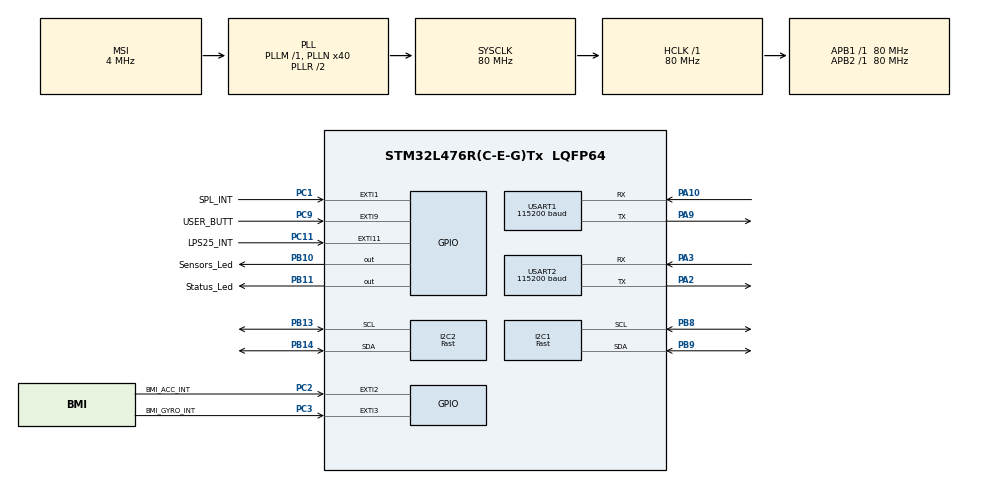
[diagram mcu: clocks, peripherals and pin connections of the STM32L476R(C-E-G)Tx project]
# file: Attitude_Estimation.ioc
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I2C1.I2C_Speed_Mode=I2C_Fast
I2C1.Timing=0x00702991
I2C2.I2C_Speed_Mode=I2C_Fast
I2C2.Timing=0x00702991
Mcu.Family=STM32L4
Mcu.Name=STM32L476R(C-E-G)Tx
Mcu.Package=LQFP64
NVIC.EXTI15_10_IRQn=true\:5\:0\:true\:false\:true\:true\:true\:true
NVIC.EXTI1_IRQn=true\:5\:0\:true\:false\:true\:true\:true\:true
NVIC.EXTI2_IRQn=true\:5\:0\:true\:false\:true\:true\:true\:true
NVIC.EXTI3_IRQn=true\:5\:0\:true\:false\:true\:true\:true\:true
NVIC.EXTI9_5_IRQn=true\:3\:0\:true\:false\:true\:true\:true\:true
NVIC.PriorityGroup=NVIC_PRIORITYGROUP_4
NVIC.TIM3_IRQn=true\:2\:0\:true\:false\:true\:true\:true\:true
NVIC.TIM4_IRQn=true\:2\:0\:true\:false\:true\:true\:true\:true
PA10.Mode=Asynchronous
PA10.Signal=USART1_RX
PA13\ (JTMS-SWDIO).Mode=Serial_Wire
PA13\ (JTMS-SWDIO).Signal=SYS_JTMS-SWDIO
PA14\ (JTCK-SWCLK).Mode=Serial_Wire
PA14\ (JTCK-SWCLK).Signal=SYS_JTCK-SWCLK
PA2.Mode=Asynchronous
PA2.Signal=USART2_TX
PA3.Mode=Asynchronous
PA3.Signal=USART2_RX
PA9.Mode=Asynchronous
PA9.Signal=USART1_TX
PB10.GPIO_Label=Sensors_Led
PB10.Signal=GPIO_Output
PB11.GPIO_Label=Status_Led
PB11.Signal=GPIO_Output
PB13.Mode=I2C
PB13.Signal=I2C2_SCL
PB14.Mode=I2C
PB14.Signal=I2C2_SDA
PB8.Mode=I2C
PB8.Signal=I2C1_SCL
PB9.Mode=I2C
PB9.Signal=I2C1_SDA
PC1.GPIO_Label=SPL_INT
PC1.Signal=GPXTI1
PC11.GPIO_Label=LPS25_INT
PC11.Signal=GPXTI11
PC2.GPIO_Label=BMI_ACC_INT
PC2.Signal=GPXTI2
PC3.GPIO_Label=BMI_GYRO_INT
PC3.Signal=GPXTI3
PC9.GPIO_Label=USER_BUTT
PC9.GPIO_ModeDefaultEXTI=GPIO_MODE_IT_FALLING
PC9.GPIO_PuPd=GPIO_PULLUP
PC9.Signal=GPXTI9
ProjectManager.HeapSize=0x200
ProjectManager.StackSize=0x400
ProjectManager.TargetToolchain=STM32CubeIDE
RCC.AHBFreq_Value=80000000
RCC.APB1Freq_Value=80000000
RCC.APB1TimFreq_Value=80000000
RCC.APB2Freq_Value=80000000
RCC.APB2TimFreq_Value=80000000
RCC.CortexFreq_Value=80000000
RCC.HCLKFreq_Value=80000000
RCC.HSE_VALUE=8000000
RCC.HSI_VALUE=16000000
RCC.LSE_VALUE=32768
RCC.MSI_VALUE=4000000
RCC.PLLN=40
RCC.SYSCLKFreq_VALUE=80000000
RCC.SYSCLKSource=RCC_SYSCLKSOURCE_PLLCLK
RCC.VCOOutputFreq_Value=160000000
TIM3.Channel-Output\ Compare1\ No\ Output=TIM_CHANNEL_1
TIM3.Channel-Output\ Compare2\ No\ Output=TIM_CHANNEL_2
TIM3.Channel-Output\ Compare3\ No\ Output=TIM_CHANNEL_3
TIM3.Channel-Output\ Compare4\ No\ Output=TIM_CHANNEL_4
TIM3.Period=9999
TIM3.Prescaler=7999
TIM3.Pulse-Output\ Compare1\ No\ Output=0
TIM3.Pulse-Output\ Compare2\ No\ Output=5000
TIM3.Pulse-Output\ Compare3\ No\ Output=2500
TIM4.Channel-Output\ Compare1\ No\ Output=TIM_CHANNEL_1
TIM4.Period=19999
TIM4.Prescaler=9999
USART1.BaudRate=115200
USART1.VirtualMode-Asynchronous=VM_ASYNC
USART2.BaudRate=115200
USART2.VirtualMode-Asynchronous=VM_ASYNC
VP_TIM3_VS_ClockSourceINT.Mode=Internal
VP_TIM3_VS_no_output1.Mode=Output Compare1 No Output
VP_TIM3_VS_no_output2.Mode=Output Compare2 No Output
VP_TIM3_VS_no_output3.Mode=Output Compare3 No Output
VP_TIM4_VS_ClockSourceINT.Mode=Internal
VP_TIM4_VS_no_output1.Mode=Output Compare1 No Output
board=custom

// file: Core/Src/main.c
/* USER CODE BEGIN Header */
/**
  ******************************************************************************
  * @file           : main.c
  * @brief          : Main program body
  ******************************************************************************
  * @attention
  *
  * Copyright (c) 2023 STMicroelectronics.
  * All rights reserved.
  *
  * This software is licensed under terms that can be found in the LICENSE file
  * in the root directory of this software component.
  * If no LICENSE file comes with this software, it is provided AS-IS.
  *
  ******************************************************************************
  */
/* USER CODE END Header */
#include "main.h"
#include "i2c.h"
#include "tim.h"
#include "usart.h"
#include "gpio.h"

/* USER CODE BEGIN Includes */
#include "I2C_BusMonitor.h"
#include "Altimeter.h"
#include "QMC5883L.h"
#include "BMI088.h"
#include "LPS25HB_I2C.h"
#include "ICM_42688_P.h"
#include "SPL06.h"
#include "RollPitchYaw.h"
#include <stdio.h>
#include <SPL06.h>
#include <string.h>
/* USER CODE END Includes */

/* USER CODE BEGIN PD */
#define SAMPLE_RATE 50
#define MAGNETOMETER_ON   1
#define MAGNETOMETER_OFF  2
#define ALTIMETER_ON  	  2
#define ALTIMETER_OFF     1

/* USER CODE END PD */

/* USER CODE BEGIN PV */

typedef struct{

	LPS25HB_t 	LPS25;
	SPL06_t   	SPL;
	Altimeter_t Altimeter;
	ICM_42688_t IMC;
	BMI088_t 	BMI;
	QMC5883L_t 	QMC;

}Device_t;

Device_t Dev;

RollPitchYaw_t RPY_dev;

float Rad_to_Deg = 57.295f;

float GRAVITY_EARTH = 9.81;
uint8_t DataReadyBMIGyro = 0;
uint8_t DataReadyBMIAcc = 0;
uint8_t DataReadySPL = 0;
uint8_t DataReadyLPS25 = 0;

volatile float AverageTemp = 0.0f;

uint32_t time_tick = 0, Sample_time = 25;

volatile uint8_t ALTIcounter = 0;
volatile uint8_t MAGcounter = 0;
uint8_t ALTI_ON = 0;
uint8_t MAG_ON = 0;

// Filter coefficients
//float ALPHA_ACC
//float ALPHA_GYRO	0.8f
//float ALPHA_MAG 	0.5f

/* USER CODE END PV */

void SystemClock_Config(void);

/* USER CODE BEGIN 0 */

int __io_putchar(int ch)
{
  if (ch == '\n') {
    __io_putchar('\r');
  }

  HAL_UART_Transmit(&huart1, (uint8_t*)&ch, 1, HAL_MAX_DELAY);

  return 1;
}

void HAL_GPIO_EXTI_Callback(uint16_t GPIO_Pin)
{

	if(GPIO_Pin == BMI_GYRO_INT_Pin){
	//	 DataReadyBMIGyro = 1;
		}
	if(GPIO_Pin == BMI_ACC_INT_Pin){
	//DataReadyBMIAcc = 1;
			}
	if(GPIO_Pin == SPL_INT_Pin){
		//DataReadySPL = 1;
	}
	if(GPIO_Pin == LPS25_INT_Pin){
		//DataReadyLPS25 = 1;

	}

	if(GPIO_Pin == USER_BUTT_Pin){

		ALTIcounter++;
		MAGcounter++;

		if(ALTIcounter >= ALTIMETER_ON){
			HAL_TIM_OC_Stop_IT(&htim4, TIM_CHANNEL_1);

			MAGcounter = 0;
			ALTIcounter = 0;
			ALTI_ON ^= 1;

			HAL_GPIO_TogglePin(Sensors_Led_GPIO_Port,  Sensors_Led_Pin);

		}
		else if(ALTIcounter ==  ALTIMETER_OFF){
			HAL_TIM_OC_Start_IT(&htim4, TIM_CHANNEL_1);
		}

	}

}

void HAL_TIM_OC_DelayElapsedCallback(TIM_HandleTypeDef *htim)
{
  if (htim == &htim4) {
    switch (HAL_TIM_GetActiveChannel(&htim4)) {
    case HAL_TIM_ACTIVE_CHANNEL_1:

    	ALTIcounter = 0;

    	if(MAGcounter == MAGNETOMETER_ON){
    		MAG_ON ^= 1;
    		HAL_GPIO_TogglePin(Status_Led_GPIO_Port,  Status_Led_Pin);
    		MAGcounter = 0;

    	}
    	HAL_TIM_OC_Stop_IT(&htim4, TIM_CHANNEL_1);

      break;

    default:
      break;
    }
  }
  if (htim == &htim3) {
    switch (HAL_TIM_GetActiveChannel(&htim3)) {
    case HAL_TIM_ACTIVE_CHANNEL_1:
    	//Some troubles on I2C bus sensor led blinking with 1Hz
      HAL_GPIO_TogglePin(Sensors_Led_GPIO_Port,  Sensors_Led_Pin);
      break;
    case HAL_TIM_ACTIVE_CHANNEL_2:
    	//Some critical troubles on I2C bus sensor led blinking with 2Hz
      HAL_GPIO_TogglePin(Sensors_Led_GPIO_Port,  Sensors_Led_Pin);
      break;
    case HAL_TIM_ACTIVE_CHANNEL_3:
    	// No I2C devices status blinking with 4Hz
        HAL_GPIO_TogglePin(Status_Led_GPIO_Port,  Status_Led_Pin);
        break;
    default:
      break;
    }
  }
}

/* USER CODE END 0 */

int main(void)
{

  /* MCU Configuration--------------------------------------------------------*/

  /* Reset of all peripherals, Initializes the Flash interface and the Systick. */
  HAL_Init();

  /* Configure the system clock */
  SystemClock_Config();

  /* Initialize all configured peripherals */
  MX_GPIO_Init();
  MX_I2C1_Init();
  MX_USART2_UART_Init();
  MX_I2C2_Init();
  MX_TIM3_Init();
  MX_TIM4_Init();
  MX_USART1_UART_Init();
  /* USER CODE BEGIN 2 */
 // HAL_I2C_EnableListen_IT(&hi2c1);
ScanI2CBus(&hi2c1); ScanI2CBus(&hi2c2);
CheckI2Cfaults(SPL06_INIT(&Dev.SPL, &hi2c1, SPL06_I2C_ADDRESS_I));
CheckI2Cfaults(BMI088_INIT(&Dev.BMI, &hi2c2));
CheckI2Cfaults(QMC5883L_INIT(&Dev.QMC,&hi2c1 , QMC5883L_ADDRESS));

// dummy read
QMC5883L_ReadMag(&Dev.QMC, 0.5f);
SPL06_READ_TEMP_PRESS(&Dev.SPL);
BMI088_ReadAcc(&Dev.BMI); BMI088_ReadGyro(&Dev.BMI);

INIT_ALTIMETER(&Dev.Altimeter, Dev.SPL.pressure_hPa);
DataPrepareForAlitmeter(&Dev.Altimeter,&Dev.SPL, 50);

InitRollPitchYawEstimationFunc(&RPY_dev);

  /* USER CODE END 2 */

  /* Infinite loop */
  /* USER CODE BEGIN WHILE */
  while (1)
{

	  if(HAL_GetTick() - time_tick >= Sample_time)
	 	  {

		  time_tick = HAL_GetTick();

		  BMI088_ReadAcc(&Dev.BMI);
		  BMI088_ReadGyro(&Dev.BMI);
		  QMC5883L_ReadMag(&Dev.QMC, 0.6f);
		  SPL06_READ_TEMP_PRESS(&Dev.SPL);
		  Estimate_Altitude(&Dev.Altimeter ,&Dev.SPL,Dev.SPL.pressure_hPa, Dev.SPL.temp_cel,1);
		  EstimateRollPitchYawComplementaryFilter(&RPY_dev, &Dev.BMI,&Dev.QMC,0.1f,0.8f,Sample_time , 0.1f, ALTI_ON);

		  printf("%.3f,%.3f,%.3f,%.3f,%d,%d\n",RPY_dev.RollAngle , RPY_dev.PitchAngle,RPY_dev.YawAngle,Dev.Altimeter.Altitude_1, ALTI_ON, MAG_ON);

	  }

    /* USER CODE END WHILE */

}
}

void SystemClock_Config(void)
{
  RCC_OscInitTypeDef RCC_OscInitStruct = {0};
  RCC_ClkInitTypeDef RCC_ClkInitStruct = {0};

  /** Configure the main internal regulator output voltage
  */
  if (HAL_PWREx_ControlVoltageScaling(PWR_REGULATOR_VOLTAGE_SCALE1) != HAL_OK)
  {
    Error_Handler();
  }

  /** Initializes the RCC Oscillators according to the specified parameters
  * in the RCC_OscInitTypeDef structure.
  */
  RCC_OscInitStruct.OscillatorType = RCC_OSCILLATORTYPE_MSI;
  RCC_OscInitStruct.MSIState = RCC_MSI_ON;
  RCC_OscInitStruct.MSICalibrationValue = 0;
  RCC_OscInitStruct.MSIClockRange = RCC_MSIRANGE_6;
  RCC_OscInitStruct.PLL.PLLState = RCC_PLL_ON;
  RCC_OscInitStruct.PLL.PLLSource = RCC_PLLSOURCE_MSI;
  RCC_OscInitStruct.PLL.PLLM = 1;
  RCC_OscInitStruct.PLL.PLLN = 40;
  RCC_OscInitStruct.PLL.PLLP = RCC_PLLP_DIV7;
  RCC_OscInitStruct.PLL.PLLQ = RCC_PLLQ_DIV2;
  RCC_OscInitStruct.PLL.PLLR = RCC_PLLR_DIV2;
  if (HAL_RCC_OscConfig(&RCC_OscInitStruct) != HAL_OK)
  {
    Error_Handler();
  }

  /** Initializes the CPU, AHB and APB buses clocks
  */
  RCC_ClkInitStruct.ClockType = RCC_CLOCKTYPE_HCLK|RCC_CLOCKTYPE_SYSCLK
                              |RCC_CLOCKTYPE_PCLK1|RCC_CLOCKTYPE_PCLK2;
  RCC_ClkInitStruct.SYSCLKSource = RCC_SYSCLKSOURCE_PLLCLK;
  RCC_ClkInitStruct.AHBCLKDivider = RCC_SYSCLK_DIV1;
  RCC_ClkInitStruct.APB1CLKDivider = RCC_HCLK_DIV1;
  RCC_ClkInitStruct.APB2CLKDivider = RCC_HCLK_DIV1;

  if (HAL_RCC_ClockConfig(&RCC_ClkInitStruct, FLASH_LATENCY_4) != HAL_OK)
  {
    Error_Handler();
  }
}

void Error_Handler(void)
{
  __disable_irq();
  while (1)
  {
  }
}
